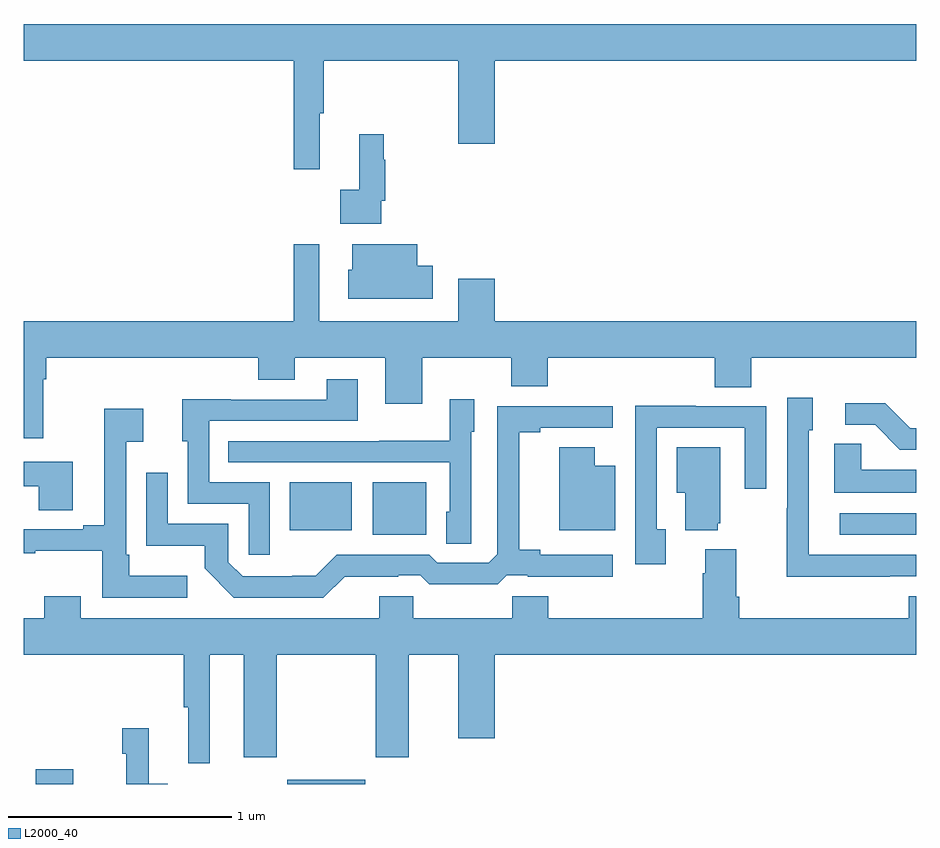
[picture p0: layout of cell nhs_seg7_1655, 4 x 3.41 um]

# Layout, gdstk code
import gdstk
lib = gdstk.Library(unit=1e-6, precision=1e-09)
def R(c, l, rs):  # rectangles x0, y0, x1, y1
    for r in rs: c.add(gdstk.rectangle(r[:2], r[2:], *l))
def P(c, l, *ps):  # polygons
    for p in ps: c.add(gdstk.Polygon(p, *l))
L2000_40 = (2000, 40)

nhs_seg7_1655 = lib.new_cell('nhs_seg7_1655')
R(nhs_seg7_1655, L2000_40, [(223.052,1036,223.222,1036.066), (224.18,1036,224.53,1036.018), (224.564,1037.117,224.803,1037.353), (226.659,1037.118,227,1037.214), (224.192,1037.138,224.47,1037.353)])
P(nhs_seg7_1655, L2000_40, [(224.327,1039.008),(224.345,1039.008),(224.345,1039.244),(224.948,1039.244),(224.948,1038.87),(225.112,1038.87),(225.112,1039.244),(227,1039.244),(227,1039.408),(223,1039.408),(223,1039.244),(224.209,1039.244),(224.209,1038.756),(224.327,1038.756)],
  [(224.601,1038.616),(224.621,1038.616),(224.621,1038.8),(224.614,1038.8),(224.614,1038.913),(224.504,1038.913),(224.504,1038.665),(224.418,1038.665),(224.418,1038.512),(224.601,1038.512)],
  [(224.833,1038.323),(224.764,1038.323),(224.764,1038.421),(224.471,1038.421),(224.471,1038.306),(224.453,1038.306),(224.453,1038.176),(224.833,1038.176)],
  [(223.087,1037.816),(223.1,1037.816),(223.1,1037.912),(224.051,1037.912),(224.051,1037.813),(224.215,1037.813),(224.215,1037.912),(224.621,1037.912),(224.621,1037.706),(224.785,1037.706),(224.785,1037.912),(225.185,1037.912),(225.185,1037.784),(225.349,1037.784),(225.349,1037.912),(226.097,1037.912),(226.097,1037.779),(226.262,1037.779),(226.262,1037.912),(227,1037.912),(227,1038.076),(225.112,1038.076),(225.112,1038.265),(224.948,1038.265),(224.948,1038.076),(224.325,1038.076),(224.325,1038.421),(224.209,1038.421),(224.209,1038.076),(223,1038.076),(223,1037.55),(223.087,1037.55)],
  [(224.103,1037.352),(223.83,1037.352),(223.83,1037.628),(224.497,1037.628),(224.497,1037.815),(224.357,1037.815),(224.357,1037.724),(223.927,1037.724),(223.927,1037.726),(223.709,1037.726),(223.709,1037.538),(223.734,1037.538),(223.734,1037.256),(224.007,1037.256),(224.007,1037.028),(224.103,1037.028)],
  [(226.883,1036.932),(227,1036.932),(227,1037.028),(226.518,1037.028),(226.518,1037.586),(226.537,1037.586),(226.537,1037.731),(226.422,1037.731),(226.422,1037.237),(226.42,1037.237),(226.42,1036.93),(226.883,1036.93)],
  [(225.006,1037.58),(225.019,1037.58),(225.019,1037.725),(224.91,1037.725),(224.91,1037.539),(224.593,1037.539),(224.593,1037.538),(223.915,1037.538),(223.915,1037.442),(224.91,1037.442),(224.91,1037.22),(224.894,1037.22),(224.894,1037.077),(225.006,1037.077)],
  [(227,1037.595),(226.974,1037.595),(226.861,1037.708),(226.683,1037.708),(226.683,1037.61),(226.817,1037.61),(226.928,1037.499),(227,1037.499)],
  [(225.877,1037.142),(225.837,1037.142),(225.837,1037.598),(226.233,1037.598),(226.233,1037.325),(226.329,1037.325),(226.329,1037.694),(226.013,1037.694),(226.013,1037.696),(225.741,1037.696),(225.741,1036.986),(225.877,1036.986)],
  [(224.438,1036.93),(224.678,1036.93),(224.678,1036.935),(224.778,1036.935),(224.818,1036.896),(225.125,1036.896),(225.165,1036.935),(225.259,1036.935),(225.259,1036.93),(225.64,1036.93),(225.64,1037.028),(225.316,1037.028),(225.316,1037.051),(225.221,1037.051),(225.221,1037.578),(225.316,1037.578),(225.316,1037.598),(225.64,1037.598),(225.64,1037.694),(225.123,1037.694),(225.123,1037.031),(225.084,1036.992),(224.853,1036.992),(224.817,1037.028),(224.403,1037.028),(224.309,1036.934),(224.204,1036.934),(224.204,1036.932),(223.98,1036.932),(223.917,1036.995),(223.917,1037.166),(223.644,1037.166),(223.644,1037.395),(223.548,1037.395),(223.548,1037.069),(223.81,1037.069),(223.81,1036.967),(223.94,1036.836),(224.343,1036.836)],
  [(223.732,1036.933),(223.471,1036.933),(223.471,1037.029),(223.458,1037.029),(223.458,1037.534),(223.534,1037.534),(223.534,1037.683),(223.361,1037.683),(223.361,1037.161),(223.265,1037.161),(223.265,1037.142),(223,1037.142),(223,1037.034),(223.051,1037.034),(223.051,1037.045),(223.35,1037.045),(223.35,1036.836),(223.732,1036.836)],
  [(227,1037.41),(226.755,1037.41),(226.755,1037.525),(226.634,1037.525),(226.634,1037.306),(227,1037.306)],
  [(225.652,1037.428),(225.559,1037.428),(225.559,1037.509),(225.401,1037.509),(225.401,1037.138),(225.652,1037.138)],
  [(226.112,1037.169),(226.123,1037.169),(226.123,1037.509),(225.926,1037.509),(225.926,1037.306),(225.965,1037.306),(225.965,1037.138),(226.112,1037.138)],
  [(223.219,1037.446),(223,1037.446),(223,1037.336),(223.067,1037.336),(223.067,1037.227),(223.219,1037.227)],
  [(227,1036.843),(226.967,1036.843),(226.967,1036.744),(226.208,1036.744),(226.208,1036.84),(226.195,1036.84),(226.195,1037.053),(226.055,1037.053),(226.055,1036.946),(226.043,1036.946),(226.043,1036.744),(225.35,1036.744),(225.35,1036.842),(225.19,1036.842),(225.19,1036.744),(224.745,1036.744),(224.745,1036.842),(224.594,1036.842),(224.594,1036.744),(223.255,1036.744),(223.255,1036.843),(223.091,1036.843),(223.091,1036.744),(223,1036.744),(223,1036.58),(223.717,1036.58),(223.717,1036.344),(223.736,1036.344),(223.736,1036.092),(223.834,1036.092),(223.834,1036.58),(223.985,1036.58),(223.985,1036.119),(224.133,1036.119),(224.133,1036.58),(224.578,1036.58),(224.578,1036.119),(224.725,1036.119),(224.725,1036.58),(224.948,1036.58),(224.948,1036.206),(225.112,1036.206),(225.112,1036.58),(227,1036.58)],
  [(223.645,1036.001),(223.559,1036.001),(223.559,1036.249),(223.441,1036.249),(223.441,1036.136),(223.459,1036.136),(223.459,1036),(223.645,1036)])

lib.write_gds('nhs_seg7_1655.gds')
